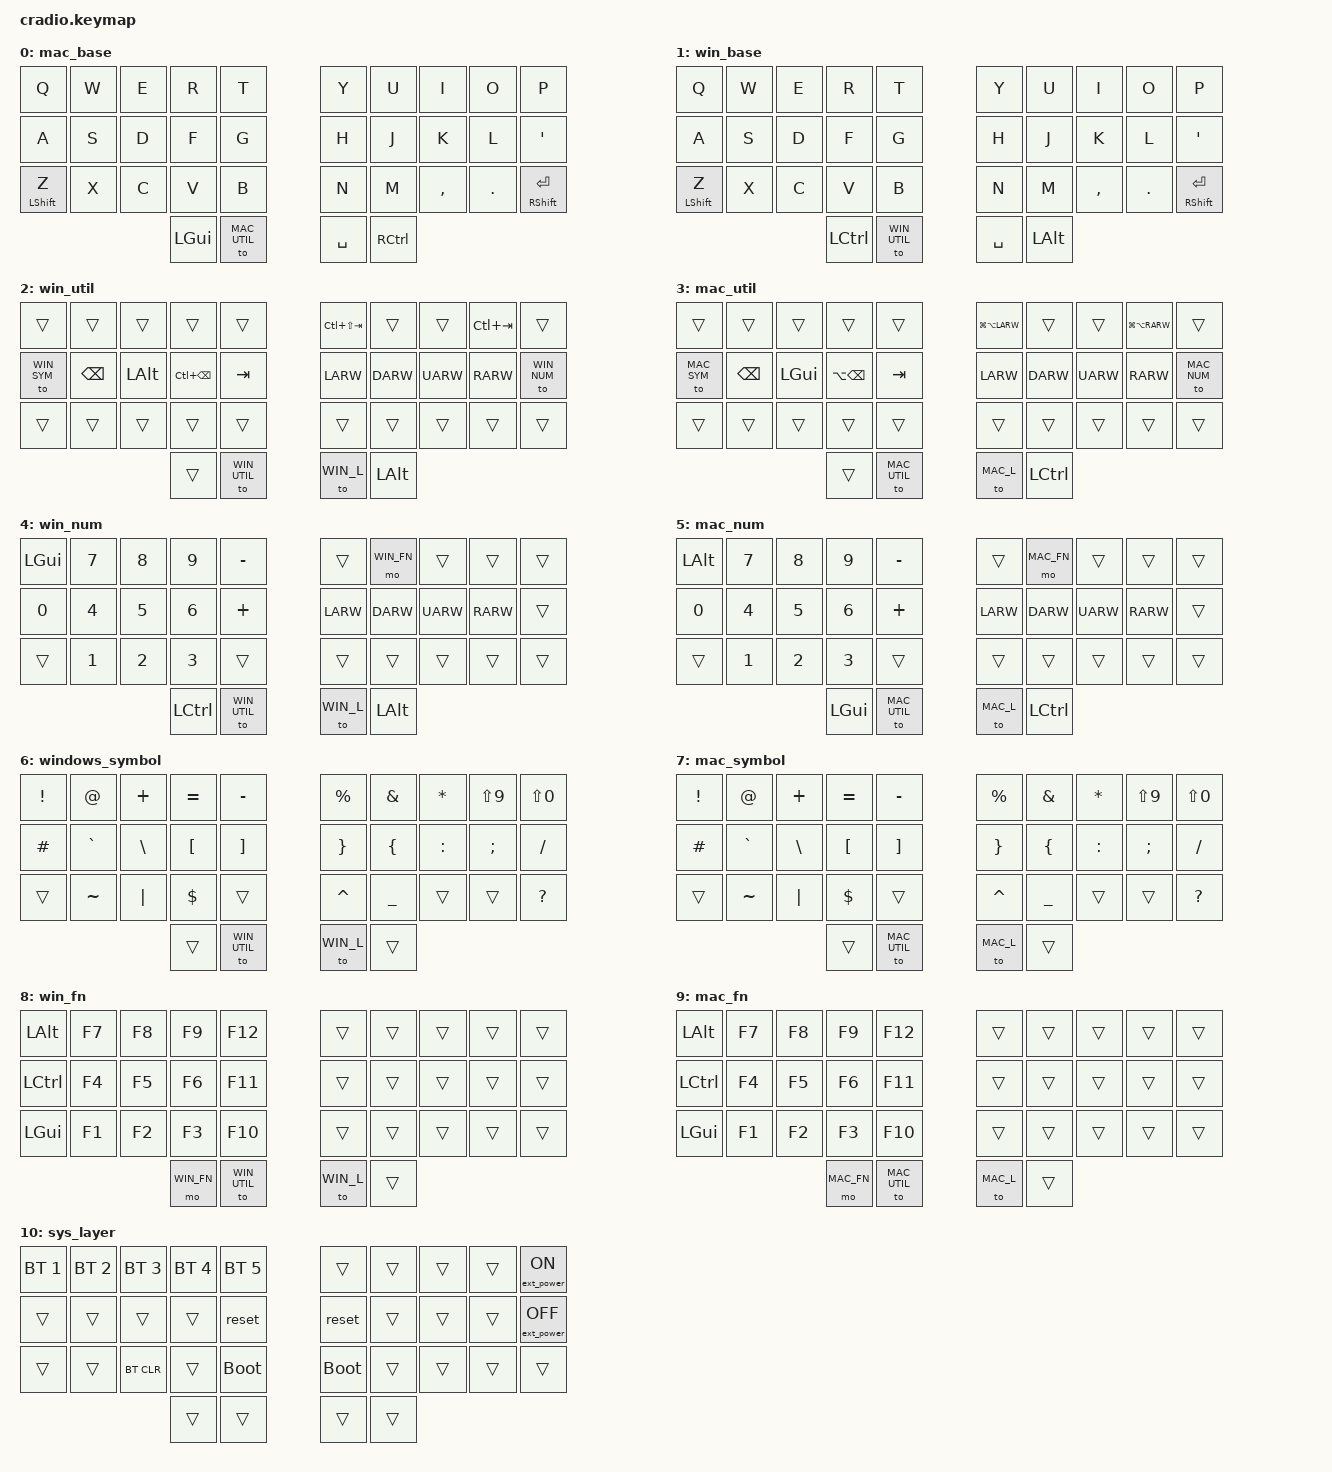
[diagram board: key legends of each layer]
/*
 * Copyright (c) 2020 The ZMK Contributors
 *
 * SPDX-License-Identifier: MIT
 */

#include <behaviors.dtsi>
#include <dt-bindings/zmk/keys.h>
#include <dt-bindings/zmk/bt.h>
#include <dt-bindings/zmk/ext_power.h>

#define MAC_L 0
#define WIN_L 1

#define WIN_UTIL 2
#define MAC_UTIL 3

#define WIN_NUM 4 
#define MAC_NUM 5

#define WIN_SYM 6 
#define MAC_SYM 7

#define WIN_FN 8
#define MAC_FN 9

#define SYS_L 10


// Using layer taps on thumbs, having quick tap as well helps w/ repeating space/backspace
&lt { quick_tap_ms = <200>; };


/ {
    combos {
        compatible = "zmk,combos";
        combo_esc_win {
            timeout-ms = <50>;
	        key-positions = <16 17>;
            bindings = <&to WIN_L &kp ESC>;
            layers = <WIN_L WIN_FN WIN_NUM WIN_SYM WIN_UTIL>;
        };
        combo_esc_mac {
            timeout-ms = <50>;
	        key-positions = <16 17>;
            bindings = <&to MAC_L &kp ESC>;
            layers = <MAC_L MAC_NUM MAC_SYM MAC_UTIL MAC_FN>;
        };
        combo_win {
            timeout-ms = <85>;
            key-positions = <0 1 2 3>;	   
            bindings = <&to WIN_L>; 
        }; 
        combo_mac {
            timeout-ms = <85>;
            key-positions = <6 7 8 9>;	   
            bindings = <&to MAC_L>;
        };
        combo_sys_layer {
            timeout-ms = <85>;
            key-positions = <20 21 22 23>;
            bindings = <&to SYS_L>;
        };
        combo_caps_word {
            timeout-ms = <85>;
            key-positions = <24 25>;	   
            bindings = <&caps_word>;
        };
        combo_del {
            timeout-ms = <70>;
            key-positions = <9 19>;
            bindings = <&kp DEL>;
        };
    };
};


/ {

    keymap {
        compatible = "zmk,keymap";

        mac_base {
            bindings = <
                &kp Q       &kp W      &kp E       &kp R           &kp T            &kp Y            &kp U          &kp I       &kp O      &kp P
                &kp A       &kp S      &kp D       &kp F           &kp G            &kp H            &kp J          &kp K       &kp L      &kp SQT
                &mt LSHIFT Z   &kp X   &kp C       &kp V           &kp B            &kp N            &kp M          &kp COMMA   &kp DOT    &mt RSHIFT RET
                                                   &kp LGUI        &to MAC_UTIL     &kp SPACE        &kp RCTRL
            >;
        };
	
	win_base {
            bindings = <
                &kp Q       &kp W      &kp E       &kp R           &kp T            &kp Y            &kp U          &kp I       &kp O      &kp P
                &kp A       &kp S      &kp D       &kp F           &kp G            &kp H            &kp J          &kp K       &kp L      &kp SQT
                &mt LSHIFT Z   &kp X   &kp C       &kp V           &kp B            &kp N            &kp M          &kp COMMA   &kp DOT    &mt RSHIFT RET
                                                   &kp LCTRL       &to WIN_UTIL     &kp SPACE        &kp LALT
            >;
        };

        win_util {
            bindings = <
                &trans      &trans      &trans      &trans          &trans           &kp LC(LS(TAB))  &trans         &trans      &kp LC(TAB) &trans      
                &to WIN_SYM &kp BKSP    &kp LALT    &kp LC(BKSP)    &kp TAB          &kp LARW         &kp DARW       &kp UARW    &kp RARW    &to WIN_NUM
                &trans      &trans      &trans      &trans          &trans           &trans           &trans         &trans      &trans      &trans      
                                                    &trans          &to WIN_UTIL     &to WIN_L        &kp LALT
            >;
        };

        mac_util {
            bindings = <
                &trans      &trans      &trans      &trans          &trans           &kp LG(LA(LARW)) &trans         &trans      &kp LG(LA(RARW)) &trans      
                &to MAC_SYM &kp BKSP    &kp LGUI    &kp LA(BKSP)    &kp TAB          &kp LARW         &kp DARW       &kp UARW    &kp RARW    &to MAC_NUM
                &trans      &trans      &trans      &trans          &trans           &trans           &trans         &trans      &trans      &trans      
                                                    &trans          &to MAC_UTIL     &to MAC_L        &kp LCTRL
            >;
        };

        win_num {
            bindings = <
                &kp LGUI    &kp N7     &kp N8      &kp N9          &kp MINUS        &trans           &mo WIN_FN     &trans      &trans      &trans          
                &kp N0      &kp N4     &kp N5      &kp N6          &kp PLUS         &kp LARW         &kp DARW       &kp UARW    &kp RARW    &trans
                &trans      &kp N1     &kp N2      &kp N3          &trans           &trans           &trans         &trans      &trans      &trans
                                                   &kp LCTRL       &to WIN_UTIL     &to WIN_L        &kp LALT
            >;
        };
        
        mac_num {
            bindings = <
                &kp LALT    &kp N7     &kp N8      &kp N9          &kp MINUS        &trans           &mo MAC_FN     &trans      &trans      &trans          
                &kp N0      &kp N4     &kp N5      &kp N6          &kp PLUS         &kp LARW         &kp DARW       &kp UARW    &kp RARW    &trans
                &trans      &kp N1     &kp N2      &kp N3          &trans           &trans           &trans         &trans      &trans      &trans           
                                                   &kp LGUI        &to MAC_UTIL     &to MAC_L        &kp LCTRL
            >;
        };

        windows_symbol {
            bindings = < 
                &kp EXCL  &kp AT      &kp PLUS    &kp EQUAL   &kp MINUS             &kp PERCENT  &kp AMPS   &kp STAR   &kp LS(N9)   &kp LS(N0)   
                &kp HASH  &kp GRAVE   &kp BSLH    &kp LBKT    &kp RBKT              &kp RBRC     &kp LBRC   &kp COLN   &kp SEMI     &kp FSLH
                &trans    &kp TILDE   &kp PIPE    &kp DOLLAR  &trans                &kp CARET    &kp UNDER  &trans     &trans       &kp QUESTION 
                                                  &trans      &to WIN_UTIL          &to WIN_L    &trans
            >; 
        };

        mac_symbol {
            bindings = < 
                &kp EXCL  &kp AT      &kp PLUS    &kp EQUAL   &kp MINUS             &kp PERCENT  &kp AMPS   &kp STAR   &kp LS(N9)   &kp LS(N0)   
                &kp HASH  &kp GRAVE   &kp BSLH    &kp LBKT    &kp RBKT              &kp RBRC     &kp LBRC   &kp COLN   &kp SEMI     &kp FSLH
                &trans    &kp TILDE   &kp PIPE    &kp DOLLAR  &trans                &kp CARET    &kp UNDER  &trans     &trans       &kp QUESTION 
                                                  &trans      &to MAC_UTIL          &to MAC_L    &trans
            >; 
        };

	win_fn {
            bindings = <
                &kp LALT    &kp F7     &kp F8      &kp F9          &kp F12          &trans           &trans         &trans      &trans      &trans          
                &kp LCTRL   &kp F4     &kp F5      &kp F6          &kp F11          &trans           &trans         &trans      &trans      &trans          
                &kp LGUI    &kp F1     &kp F2      &kp F3          &kp F10          &trans           &trans         &trans      &trans      &trans           
                                                   &mo WIN_FN      &to WIN_UTIL     &to WIN_L        &trans
            >;
        };

	mac_fn {
            bindings = <
                &kp LALT    &kp F7     &kp F8      &kp F9          &kp F12          &trans           &trans         &trans      &trans      &trans          
                &kp LCTRL   &kp F4     &kp F5      &kp F6          &kp F11          &trans           &trans         &trans      &trans      &trans          
                &kp LGUI    &kp F1     &kp F2      &kp F3          &kp F10          &trans           &trans         &trans      &trans      &trans           
                                                   &mo MAC_FN      &to MAC_UTIL     &to MAC_L        &trans
            >;
        };

	sys_layer {
            bindings = <
                &bt BT_SEL 1    &bt BT_SEL 2    &bt BT_SEL 3  &bt BT_SEL 4    &bt BT_SEL 5   &trans          &trans      &trans    &trans     &ext_power EP_ON
                &trans          &trans     &trans          &trans          &reset            &reset          &trans      &trans    &trans     &ext_power EP_OFF 
                &trans          &trans     &bt BT_CLR      &trans          &bootloader       &bootloader     &trans      &trans    &trans     &trans
                                                           &trans          &trans            &trans          &trans
            >;
        };
	
    };
};
